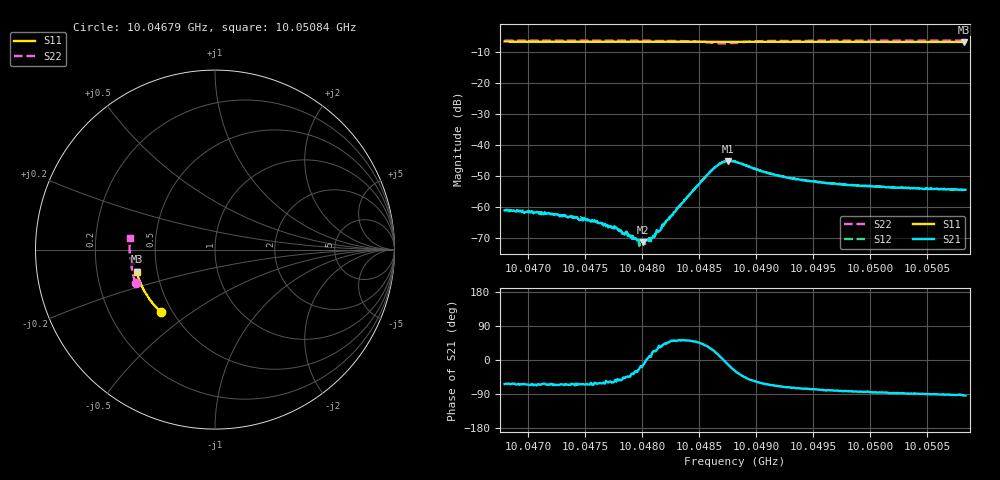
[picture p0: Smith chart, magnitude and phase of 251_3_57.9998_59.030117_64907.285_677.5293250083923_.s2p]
#  HZ  S  RI  R  50.00
! Rohde & Schwarz Vector Network Analyzer
! Rohde-Schwarz,ZNB20-2Port,1311601062101988,3.16
! Created: UTC 3/21/2024, 1:01:29 AM
! freq[Hz]  re:S11  im:S11  re:S21  im:S21  re:S12  im:S12  re:S22  im:S22
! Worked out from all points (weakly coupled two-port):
!   401 points, 10.04679 GHz to 10.05084 GHz, reference 50 ohm
!   highest |S21| = -45.28 dB at 10.04875 GHz (marker M1); lowest = -71.5 dB at 10.04801 GHz (marker M2)
!   lowest |S11| = -6.9 dB at 10.05083 GHz (marker M3), VSWR 2.66, Z = 19.1 - j5.95 ohm
!   |S11| at or under -10 dB: nowhere
!   |S22| runs from -7.4 to -6.4 dB; largest |S21 - S12| = 0.00037
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1.0046794e10  -0.3017 -0.3484  0.000387 -0.00078  0.000446 -0.000769  -0.4427 -0.1843
1.0047239e10  -0.3226 -0.3277  0.000304 -0.000688  0.000367 -0.000664  -0.4526 -0.1556
1.0047471e10  -0.333 -0.3165  0.000269 -0.000548  0.000349 -0.000553  -0.4571 -0.1398
1.0047582e10  -0.3378 -0.3108  0.000286 -0.0005  0.00031 -0.000516  -0.4589 -0.1323
1.0047764e10  -0.3455 -0.3018  0.000281 -0.000366  0.000284 -0.000381  -0.4619 -0.1193
1.0047865e10  -0.3497 -0.2964  0.00027 -0.00027  0.000295 -0.000265  -0.4628 -0.1119
1.0047936e10  -0.3526 -0.2928  0.00026 -0.000158  0.000259 -0.000154  -0.4639 -0.1064
1.0047956e10  -0.3534 -0.2917  0.000241 -0.000149  0.000262 -0.000131  -0.4642 -0.1048
1.0048007e10  -0.3554 -0.289  0.000256 -6.59e-05  0.000264 -2.97e-05  -0.4643 -0.1009
1.0048027e10  -0.3563 -0.288  0.000282 -2.71e-05  0.000246 -3.4e-05  -0.4645 -0.0991
1.0048077e10  -0.3582 -0.2852  0.000303 4.47e-05  0.000258 9.68e-05  -0.4648 -0.0952
1.0048148e10  -0.3612 -0.2816  0.000313 0.000244  0.000326 0.000258  -0.465 -0.0892
1.004835e10  -0.3688 -0.2709  0.000691 0.000896  0.000652 0.000948  -0.4629 -0.0702
1.0048603e10  -0.3778 -0.2565  0.00322 0.00187  0.0031 0.00205  -0.4391 -0.048
1.0048684e10  -0.3805 -0.2521  0.00485 0.000783  0.00485 0.00115  -0.4251 -0.0556
1.0048754e10  -0.3829 -0.2484  0.00532 -0.00116  0.00542 -0.000853  -0.4239 -0.0704
1.0048815e10  -0.385 -0.2451  0.00464 -0.00256  0.00485 -0.00228  -0.433 -0.079
1.0049118e10  -0.3952 -0.2279  0.00143 -0.00311  0.00161 -0.00303  -0.4664 -0.0602
1.0049492e10  -0.4064 -0.206  0.00058 -0.00249  0.000711 -0.00246  -0.4743 -0.0284
1.0050169e10  -0.4235 -0.1648  8.56e-05 -0.00202  0.000234 -0.00205  -0.4757 0.0207
1.0050826e10  -0.4364 -0.1237  -0.000128 -0.00186  3.06e-05 -0.00187  -0.4714 0.0649
1.0050836e10  -0.4366 -0.1231  -0.000128 -0.00186  2.38e-07 -0.00186  -0.4713 0.0657
